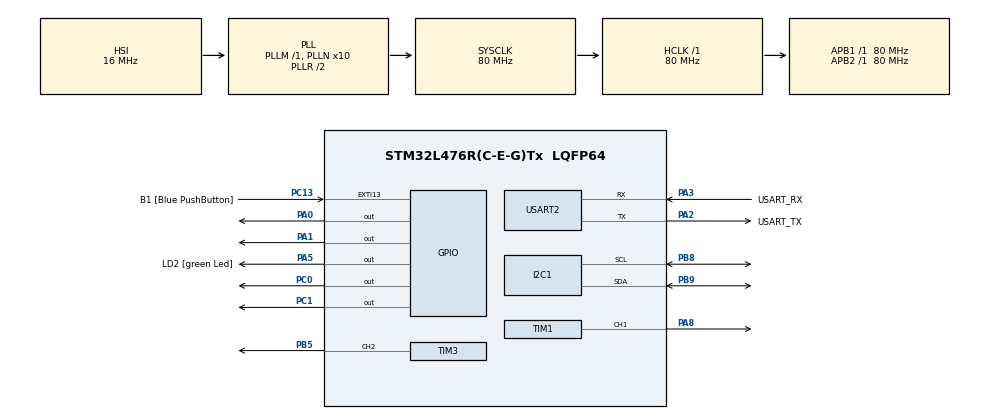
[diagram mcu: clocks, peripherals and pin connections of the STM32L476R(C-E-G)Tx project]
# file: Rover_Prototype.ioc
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I2C1.CustomTiming=Enabled
I2C1.Timing=0x00303D5B
Mcu.Family=STM32L4
Mcu.Name=STM32L476R(C-E-G)Tx
Mcu.Package=LQFP64
NVIC.PriorityGroup=NVIC_PRIORITYGROUP_4
PA0.Signal=GPIO_Output
PA1.Signal=GPIO_Output
PA13\ (JTMS-SWDIO).GPIO_Label=TMS
PA13\ (JTMS-SWDIO).Mode=Serial_Wire
PA13\ (JTMS-SWDIO).Signal=SYS_JTMS-SWDIO
PA14\ (JTCK-SWCLK).GPIO_Label=TCK
PA14\ (JTCK-SWCLK).Mode=Serial_Wire
PA14\ (JTCK-SWCLK).Signal=SYS_JTCK-SWCLK
PA2.GPIO_Label=USART_TX
PA2.GPIO_Mode=GPIO_MODE_AF_PP
PA2.GPIO_PuPd=GPIO_NOPULL
PA2.GPIO_Speed=GPIO_SPEED_FREQ_VERY_HIGH
PA2.Mode=Asynchronous
PA2.Signal=USART2_TX
PA3.GPIO_Label=USART_RX
PA3.GPIO_Mode=GPIO_MODE_AF_PP
PA3.GPIO_PuPd=GPIO_NOPULL
PA3.GPIO_Speed=GPIO_SPEED_FREQ_VERY_HIGH
PA3.Mode=Asynchronous
PA3.Signal=USART2_RX
PA5.GPIO_Label=LD2 [green Led]
PA5.GPIO_ModeDefaultOutputPP=GPIO_MODE_OUTPUT_PP
PA5.GPIO_PuPd=GPIO_NOPULL
PA5.GPIO_Speed=GPIO_SPEED_FREQ_LOW
PA5.Signal=GPIO_Output
PA8.Signal=S_TIM1_CH1
PB3\ (JTDO-TRACESWO).GPIO_Label=SWO
PB3\ (JTDO-TRACESWO).Signal=SYS_JTDO-SWO
PB5.Signal=S_TIM3_CH2
PB8.Mode=I2C
PB8.Signal=I2C1_SCL
PB9.Mode=I2C
PB9.Signal=I2C1_SDA
PC0.Signal=GPIO_Output
PC1.Signal=GPIO_Output
PC13.GPIO_Label=B1 [Blue PushButton]
PC13.GPIO_ModeDefaultEXTI=GPIO_MODE_IT_FALLING
PC13.GPIO_PuPd=GPIO_NOPULL
PC13.Signal=GPXTI13
PC14-OSC32_IN\ (PC14).Mode=LSE-External-Oscillator
PC14-OSC32_IN\ (PC14).Signal=RCC_OSC32_IN
PC15-OSC32_OUT\ (PC15).Mode=LSE-External-Oscillator
PC15-OSC32_OUT\ (PC15).Signal=RCC_OSC32_OUT
PH0-OSC_IN\ (PH0).Signal=RCC_OSC_IN
PH1-OSC_OUT\ (PH1).Signal=RCC_OSC_OUT
ProjectManager.HeapSize=0x200
ProjectManager.StackSize=0x400
ProjectManager.TargetToolchain=STM32CubeIDE
RCC.ADCFreq_Value=64000000
RCC.AHBFreq_Value=80000000
RCC.APB1Freq_Value=80000000
RCC.APB1TimFreq_Value=80000000
RCC.APB2Freq_Value=80000000
RCC.APB2TimFreq_Value=80000000
RCC.CortexFreq_Value=80000000
RCC.HCLKFreq_Value=80000000
RCC.HSE_VALUE=8000000
RCC.HSI_VALUE=16000000
RCC.MSI_VALUE=4000000
RCC.PLLN=10
RCC.PLLSourceVirtual=RCC_PLLSOURCE_HSI
RCC.PREFETCH_ENABLE=1
RCC.SYSCLKFreq_VALUE=80000000
RCC.SYSCLKSource=RCC_SYSCLKSOURCE_PLLCLK
RCC.USBFreq_Value=64000000
RCC.VCOOutputFreq_Value=160000000
SH.S_TIM1_CH1.0=TIM1_CH1,PWM Generation1 CH1
SH.S_TIM3_CH2.0=TIM3_CH2,PWM Generation2 CH2
TIM1.Channel-PWM\ Generation1\ CH1=TIM_CHANNEL_1
TIM1.Period=3999
TIM1.Prescaler=0
TIM1.Pulse-PWM\ Generation1\ CH1=2000
TIM3.Channel-PWM\ Generation2\ CH2=TIM_CHANNEL_2
TIM3.Period=3999
TIM3.Pulse-PWM\ Generation2\ CH2=2000
USART2.VirtualMode-Asynchronous=VM_ASYNC
board=NUCLEO-L476RG

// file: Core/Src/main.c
/* USER CODE BEGIN Header */
/**
  ******************************************************************************
  * @file           : main.c
  * @brief          : Main program body
  ******************************************************************************
  * @attention
  *
  * Copyright (c) 2025 STMicroelectronics.
  * All rights reserved.
  *
  * This software is licensed under terms that can be found in the LICENSE file
  * in the root directory of this software component.
  * If no LICENSE file comes with this software, it is provided AS-IS.
  *
  ******************************************************************************
  */
/* USER CODE END Header */
#include "main.h"

/* USER CODE BEGIN PTD */
#define VL53_ADDR 0x52
/* USER CODE END PTD */

/* USER CODE BEGIN PD */
void drive_forward(void);
void stop_all(void);
void turn_left(void);
uint16_t read_distance(void);
/* USER CODE END PD */

I2C_HandleTypeDef hi2c1;

TIM_HandleTypeDef htim1;
TIM_HandleTypeDef htim3;

UART_HandleTypeDef huart2;

void SystemClock_Config(void);
static void MX_GPIO_Init(void);
static void MX_USART2_UART_Init(void);
static void MX_TIM1_Init(void);
static void MX_TIM3_Init(void);
static void MX_I2C1_Init(void);

int main(void)
{

  /* MCU Configuration--------------------------------------------------------*/

  /* Reset of all peripherals, Initializes the Flash interface and the Systick. */
  HAL_Init();

  /* Configure the system clock */
  SystemClock_Config();

  /* Initialize all configured peripherals */
  MX_GPIO_Init();
  MX_USART2_UART_Init();
  MX_TIM1_Init();
  MX_TIM3_Init();
  MX_I2C1_Init();
  /* USER CODE BEGIN 2 */
  HAL_TIM_PWM_Start(&htim1, TIM_CHANNEL_1);
  HAL_TIM_PWM_Start(&htim3, TIM_CHANNEL_2);

  uint16_t distance;
  uint8_t obstacle_count = 0;
  uint32_t cooldown = 0;

  // === Test: check if VL53L0X is responding on I2C ===
  HAL_StatusTypeDef ret;
  ret = HAL_I2C_IsDeviceReady(&hi2c1, 0x52, 2, 100);

  if (ret != HAL_OK)
  {
      // Blink the onboard LED forever to show I2C failure
      while (1)
      {
          HAL_GPIO_TogglePin(LD2_GPIO_Port, LD2_Pin);
          HAL_Delay(300);
      }
  }
  /* USER CODE END 2 */

  /* Infinite loop */
  /* USER CODE BEGIN WHILE */
  while (1)
  {
	  drive_forward();
	      HAL_Delay(100);

	      // Average a few quick samples for smoother but faster readings
	      uint32_t sum = 0;
	      for (int i = 0; i < 3; i++) {
	          sum += read_distance();
	          HAL_Delay(5);
	      }
	      uint16_t distance = sum / 3;

	      if (HAL_GetTick() > cooldown)
	      {
	          if (distance < 300 && distance > 30)
	          {
	              obstacle_count++;
	          }
	          else
	          {
	              obstacle_count = 0;
	          }

	          if (obstacle_count >= 2)
	          {
	              stop_all();
	              HAL_Delay(200);

	              turn_left();
	              HAL_Delay(1000);

	              stop_all();
	              HAL_Delay(200);

	              cooldown = HAL_GetTick() + 1500;
	              obstacle_count = 0;
	          }
	      }
	  }
  /* USER CODE END 3 */
}
void drive_forward(void)
{
	HAL_GPIO_WritePin(GPIOA, GPIO_PIN_0, GPIO_PIN_SET);
	HAL_GPIO_WritePin(GPIOA, GPIO_PIN_1, GPIO_PIN_RESET);

	HAL_GPIO_WritePin(GPIOC, GPIO_PIN_0, GPIO_PIN_RESET);
	HAL_GPIO_WritePin(GPIOC, GPIO_PIN_1, GPIO_PIN_SET);

	__HAL_TIM_SET_COMPARE(&htim1, TIM_CHANNEL_1, 1700);
	__HAL_TIM_SET_COMPARE(&htim3, TIM_CHANNEL_2, 1700);
}

void stop_all(void)
{
	HAL_GPIO_WritePin(GPIOA, GPIO_PIN_0, GPIO_PIN_RESET);
	HAL_GPIO_WritePin(GPIOA, GPIO_PIN_1, GPIO_PIN_RESET);

	HAL_GPIO_WritePin(GPIOC, GPIO_PIN_0, GPIO_PIN_RESET);
	HAL_GPIO_WritePin(GPIOC, GPIO_PIN_1, GPIO_PIN_RESET);

	__HAL_TIM_SET_COMPARE(&htim1, TIM_CHANNEL_1, 0);
	__HAL_TIM_SET_COMPARE(&htim3, TIM_CHANNEL_2, 0);
}

void turn_left(void)
{
	HAL_GPIO_WritePin(GPIOA, GPIO_PIN_0, GPIO_PIN_SET);
	HAL_GPIO_WritePin(GPIOA, GPIO_PIN_1, GPIO_PIN_RESET);

	HAL_GPIO_WritePin(GPIOC, GPIO_PIN_0, GPIO_PIN_SET);
	HAL_GPIO_WritePin(GPIOC, GPIO_PIN_1, GPIO_PIN_RESET);

	__HAL_TIM_SET_COMPARE(&htim1, TIM_CHANNEL_1, 1500);
	__HAL_TIM_SET_COMPARE(&htim3, TIM_CHANNEL_2, 1500);
}

uint16_t read_distance(void)
{
	uint8_t val = 0;

	// Power-up / initialization sequence
	HAL_I2C_Mem_Read(&hi2c1, VL53_ADDR, 0xC0, 1, &val, 1, 100); // read model ID (debug)
	HAL_Delay(10);

	// Start continuous measurements
	uint8_t sysrange_start = 0x01;
	HAL_I2C_Mem_Write(&hi2c1, VL53_ADDR, 0x00, 1, &sysrange_start, 1, 100);
	HAL_Delay(50);

	// Read result
	uint8_t buf[2];
	if (HAL_I2C_Mem_Read(&hi2c1, VL53_ADDR, 0x1E, 1, buf, 2, 100) != HAL_OK)
		return 0;

	uint16_t distance = (buf[0] << 8) | buf[1];

	// Return distance in mm (will be 0 if invalid)
	return distance;
}
void SystemClock_Config(void)
{
  RCC_OscInitTypeDef RCC_OscInitStruct = {0};
  RCC_ClkInitTypeDef RCC_ClkInitStruct = {0};

  /** Configure the main internal regulator output voltage
  */
  if (HAL_PWREx_ControlVoltageScaling(PWR_REGULATOR_VOLTAGE_SCALE1) != HAL_OK)
  {
    Error_Handler();
  }

  /** Initializes the RCC Oscillators according to the specified parameters
  * in the RCC_OscInitTypeDef structure.
  */
  RCC_OscInitStruct.OscillatorType = RCC_OSCILLATORTYPE_HSI;
  RCC_OscInitStruct.HSIState = RCC_HSI_ON;
  RCC_OscInitStruct.HSICalibrationValue = RCC_HSICALIBRATION_DEFAULT;
  RCC_OscInitStruct.PLL.PLLState = RCC_PLL_ON;
  RCC_OscInitStruct.PLL.PLLSource = RCC_PLLSOURCE_HSI;
  RCC_OscInitStruct.PLL.PLLM = 1;
  RCC_OscInitStruct.PLL.PLLN = 10;
  RCC_OscInitStruct.PLL.PLLP = RCC_PLLP_DIV7;
  RCC_OscInitStruct.PLL.PLLQ = RCC_PLLQ_DIV2;
  RCC_OscInitStruct.PLL.PLLR = RCC_PLLR_DIV2;
  if (HAL_RCC_OscConfig(&RCC_OscInitStruct) != HAL_OK)
  {
    Error_Handler();
  }

  /** Initializes the CPU, AHB and APB buses clocks
  */
  RCC_ClkInitStruct.ClockType = RCC_CLOCKTYPE_HCLK|RCC_CLOCKTYPE_SYSCLK
                              |RCC_CLOCKTYPE_PCLK1|RCC_CLOCKTYPE_PCLK2;
  RCC_ClkInitStruct.SYSCLKSource = RCC_SYSCLKSOURCE_PLLCLK;
  RCC_ClkInitStruct.AHBCLKDivider = RCC_SYSCLK_DIV1;
  RCC_ClkInitStruct.APB1CLKDivider = RCC_HCLK_DIV1;
  RCC_ClkInitStruct.APB2CLKDivider = RCC_HCLK_DIV1;

  if (HAL_RCC_ClockConfig(&RCC_ClkInitStruct, FLASH_LATENCY_4) != HAL_OK)
  {
    Error_Handler();
  }
}

static void MX_I2C1_Init(void)
{

  hi2c1.Instance = I2C1;
  hi2c1.Init.Timing = 0x00303D5B;
  hi2c1.Init.OwnAddress1 = 0;
  hi2c1.Init.AddressingMode = I2C_ADDRESSINGMODE_7BIT;
  hi2c1.Init.DualAddressMode = I2C_DUALADDRESS_DISABLE;
  hi2c1.Init.OwnAddress2 = 0;
  hi2c1.Init.OwnAddress2Masks = I2C_OA2_NOMASK;
  hi2c1.Init.GeneralCallMode = I2C_GENERALCALL_DISABLE;
  hi2c1.Init.NoStretchMode = I2C_NOSTRETCH_DISABLE;
  if (HAL_I2C_Init(&hi2c1) != HAL_OK)
  {
    Error_Handler();
  }

  /** Configure Analogue filter
  */
  if (HAL_I2CEx_ConfigAnalogFilter(&hi2c1, I2C_ANALOGFILTER_ENABLE) != HAL_OK)
  {
    Error_Handler();
  }

  /** Configure Digital filter
  */
  if (HAL_I2CEx_ConfigDigitalFilter(&hi2c1, 0) != HAL_OK)
  {
    Error_Handler();
  }

}

static void MX_TIM1_Init(void)
{

  TIM_MasterConfigTypeDef sMasterConfig = {0};
  TIM_OC_InitTypeDef sConfigOC = {0};
  TIM_BreakDeadTimeConfigTypeDef sBreakDeadTimeConfig = {0};

  htim1.Instance = TIM1;
  htim1.Init.Prescaler = 0;
  htim1.Init.CounterMode = TIM_COUNTERMODE_UP;
  htim1.Init.Period = 3999;
  htim1.Init.ClockDivision = TIM_CLOCKDIVISION_DIV1;
  htim1.Init.RepetitionCounter = 0;
  htim1.Init.AutoReloadPreload = TIM_AUTORELOAD_PRELOAD_DISABLE;
  if (HAL_TIM_PWM_Init(&htim1) != HAL_OK)
  {
    Error_Handler();
  }
  sMasterConfig.MasterOutputTrigger = TIM_TRGO_RESET;
  sMasterConfig.MasterOutputTrigger2 = TIM_TRGO2_RESET;
  sMasterConfig.MasterSlaveMode = TIM_MASTERSLAVEMODE_DISABLE;
  if (HAL_TIMEx_MasterConfigSynchronization(&htim1, &sMasterConfig) != HAL_OK)
  {
    Error_Handler();
  }
  sConfigOC.OCMode = TIM_OCMODE_PWM1;
  sConfigOC.Pulse = 2000;
  sConfigOC.OCPolarity = TIM_OCPOLARITY_HIGH;
  sConfigOC.OCNPolarity = TIM_OCNPOLARITY_HIGH;
  sConfigOC.OCFastMode = TIM_OCFAST_DISABLE;
  sConfigOC.OCIdleState = TIM_OCIDLESTATE_RESET;
  sConfigOC.OCNIdleState = TIM_OCNIDLESTATE_RESET;
  if (HAL_TIM_PWM_ConfigChannel(&htim1, &sConfigOC, TIM_CHANNEL_1) != HAL_OK)
  {
    Error_Handler();
  }
  sBreakDeadTimeConfig.OffStateRunMode = TIM_OSSR_DISABLE;
  sBreakDeadTimeConfig.OffStateIDLEMode = TIM_OSSI_DISABLE;
  sBreakDeadTimeConfig.LockLevel = TIM_LOCKLEVEL_OFF;
  sBreakDeadTimeConfig.DeadTime = 0;
  sBreakDeadTimeConfig.BreakState = TIM_BREAK_DISABLE;
  sBreakDeadTimeConfig.BreakPolarity = TIM_BREAKPOLARITY_HIGH;
  sBreakDeadTimeConfig.BreakFilter = 0;
  sBreakDeadTimeConfig.Break2State = TIM_BREAK2_DISABLE;
  sBreakDeadTimeConfig.Break2Polarity = TIM_BREAK2POLARITY_HIGH;
  sBreakDeadTimeConfig.Break2Filter = 0;
  sBreakDeadTimeConfig.AutomaticOutput = TIM_AUTOMATICOUTPUT_DISABLE;
  if (HAL_TIMEx_ConfigBreakDeadTime(&htim1, &sBreakDeadTimeConfig) != HAL_OK)
  {
    Error_Handler();
  }
  HAL_TIM_MspPostInit(&htim1);

}

static void MX_TIM3_Init(void)
{

  TIM_MasterConfigTypeDef sMasterConfig = {0};
  TIM_OC_InitTypeDef sConfigOC = {0};

  htim3.Instance = TIM3;
  htim3.Init.Prescaler = 0;
  htim3.Init.CounterMode = TIM_COUNTERMODE_UP;
  htim3.Init.Period = 3999;
  htim3.Init.ClockDivision = TIM_CLOCKDIVISION_DIV1;
  htim3.Init.AutoReloadPreload = TIM_AUTORELOAD_PRELOAD_DISABLE;
  if (HAL_TIM_PWM_Init(&htim3) != HAL_OK)
  {
    Error_Handler();
  }
  sMasterConfig.MasterOutputTrigger = TIM_TRGO_RESET;
  sMasterConfig.MasterSlaveMode = TIM_MASTERSLAVEMODE_DISABLE;
  if (HAL_TIMEx_MasterConfigSynchronization(&htim3, &sMasterConfig) != HAL_OK)
  {
    Error_Handler();
  }
  sConfigOC.OCMode = TIM_OCMODE_PWM1;
  sConfigOC.Pulse = 2000;
  sConfigOC.OCPolarity = TIM_OCPOLARITY_HIGH;
  sConfigOC.OCFastMode = TIM_OCFAST_DISABLE;
  if (HAL_TIM_PWM_ConfigChannel(&htim3, &sConfigOC, TIM_CHANNEL_2) != HAL_OK)
  {
    Error_Handler();
  }
  HAL_TIM_MspPostInit(&htim3);

}

static void MX_USART2_UART_Init(void)
{

  huart2.Instance = USART2;
  huart2.Init.BaudRate = 115200;
  huart2.Init.WordLength = UART_WORDLENGTH_8B;
  huart2.Init.StopBits = UART_STOPBITS_1;
  huart2.Init.Parity = UART_PARITY_NONE;
  huart2.Init.Mode = UART_MODE_TX_RX;
  huart2.Init.HwFlowCtl = UART_HWCONTROL_NONE;
  huart2.Init.OverSampling = UART_OVERSAMPLING_16;
  huart2.Init.OneBitSampling = UART_ONE_BIT_SAMPLE_DISABLE;
  huart2.AdvancedInit.AdvFeatureInit = UART_ADVFEATURE_NO_INIT;
  if (HAL_UART_Init(&huart2) != HAL_OK)
  {
    Error_Handler();
  }

}

static void MX_GPIO_Init(void)
{
  GPIO_InitTypeDef GPIO_InitStruct = {0};

  /* GPIO Ports Clock Enable */
  __HAL_RCC_GPIOC_CLK_ENABLE();
  __HAL_RCC_GPIOH_CLK_ENABLE();
  __HAL_RCC_GPIOA_CLK_ENABLE();
  __HAL_RCC_GPIOB_CLK_ENABLE();

  /*Configure GPIO pin Output Level */
  HAL_GPIO_WritePin(GPIOC, GPIO_PIN_0|GPIO_PIN_1, GPIO_PIN_RESET);

  /*Configure GPIO pin Output Level */
  HAL_GPIO_WritePin(GPIOA, GPIO_PIN_0|GPIO_PIN_1|LD2_Pin, GPIO_PIN_RESET);

  /*Configure GPIO pin : B1_Pin */
  GPIO_InitStruct.Pin = B1_Pin;
  GPIO_InitStruct.Mode = GPIO_MODE_IT_FALLING;
  GPIO_InitStruct.Pull = GPIO_NOPULL;
  HAL_GPIO_Init(B1_GPIO_Port, &GPIO_InitStruct);

  /*Configure GPIO pins : PC0 PC1 */
  GPIO_InitStruct.Pin = GPIO_PIN_0|GPIO_PIN_1;
  GPIO_InitStruct.Mode = GPIO_MODE_OUTPUT_PP;
  GPIO_InitStruct.Pull = GPIO_NOPULL;
  GPIO_InitStruct.Speed = GPIO_SPEED_FREQ_LOW;
  HAL_GPIO_Init(GPIOC, &GPIO_InitStruct);

  /*Configure GPIO pins : PA0 PA1 LD2_Pin */
  GPIO_InitStruct.Pin = GPIO_PIN_0|GPIO_PIN_1|LD2_Pin;
  GPIO_InitStruct.Mode = GPIO_MODE_OUTPUT_PP;
  GPIO_InitStruct.Pull = GPIO_NOPULL;
  GPIO_InitStruct.Speed = GPIO_SPEED_FREQ_LOW;
  HAL_GPIO_Init(GPIOA, &GPIO_InitStruct);

}

void Error_Handler(void)
{
  __disable_irq();
  while (1)
  {
  }
}
